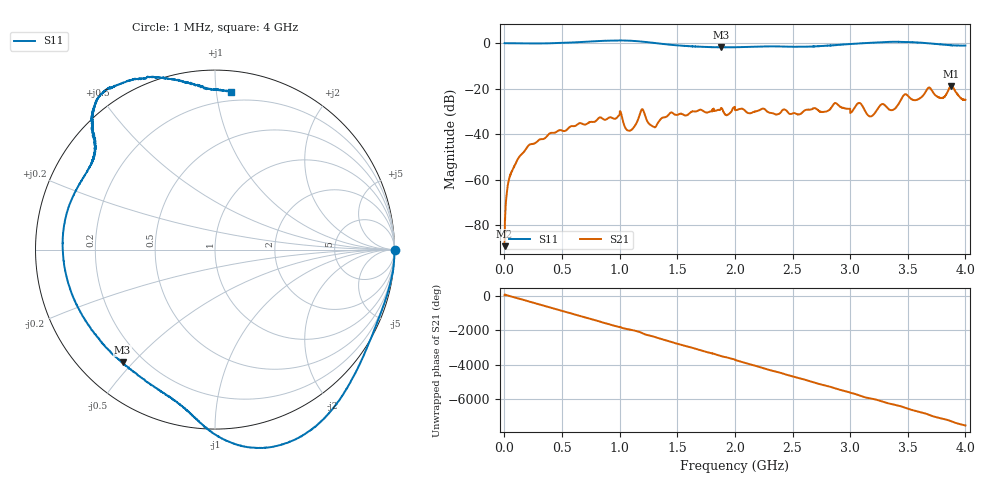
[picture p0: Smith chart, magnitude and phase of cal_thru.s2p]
!Created with skrf (http://scikit-rf.org).
# GHz S RI R 50.0
!freq ReS11 ImS11 ReS21 ImS21 ReS12 ImS12 ReS22 ImS22
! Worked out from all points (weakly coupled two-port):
!   4000 points, 1 MHz to 4 GHz, reference 50 ohm
!   highest |S21| = -18.72 dB at 3.877 GHz (marker M1); lowest = -89.1 dB at 1 MHz (marker M2)
!   lowest |S11| = -1.8 dB at 1.879 GHz (marker M3), VSWR 9.60, Z = 6.36 - j23.3 ohm
!   |S11| at or under -10 dB: nowhere
!   S12 and S22 are empty: the file has one direction only
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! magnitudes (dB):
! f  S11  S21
! 1 MHz  0.0  -89.1
! 51 MHz  0.0  -57.8
! 199 MHz  -0.1  -45.6
! 668 MHz  0.5  -35.2
! 1.001 GHz  1.2  -29.9
! 1.087 GHz  1.1  -38.5
! 1.195 GHz  0.7  -29.0
! 1.271 GHz  0.3  -36.0
! 1.334 GHz  -0.1  -34.8
! 1.879 GHz  -1.8  -28.5
! 2.001 GHz  -1.8  -29.4
! 2.667 GHz  -1.4  -29.0
! 3.079 GHz  -0.1  -26.2
! 3.176 GHz  0.2  -32.1
! 3.274 GHz  0.4  -26.8
! 3.334 GHz  0.6  -28.9
! 3.476 GHz  0.5  -22.4
! 3.576 GHz  0.3  -24.9
! 3.686 GHz  -0.1  -19.4
! 3.796 GHz  -0.5  -24.0
! 3.877 GHz  -0.9  -18.7
! 4 GHz  -1.0  -24.8
